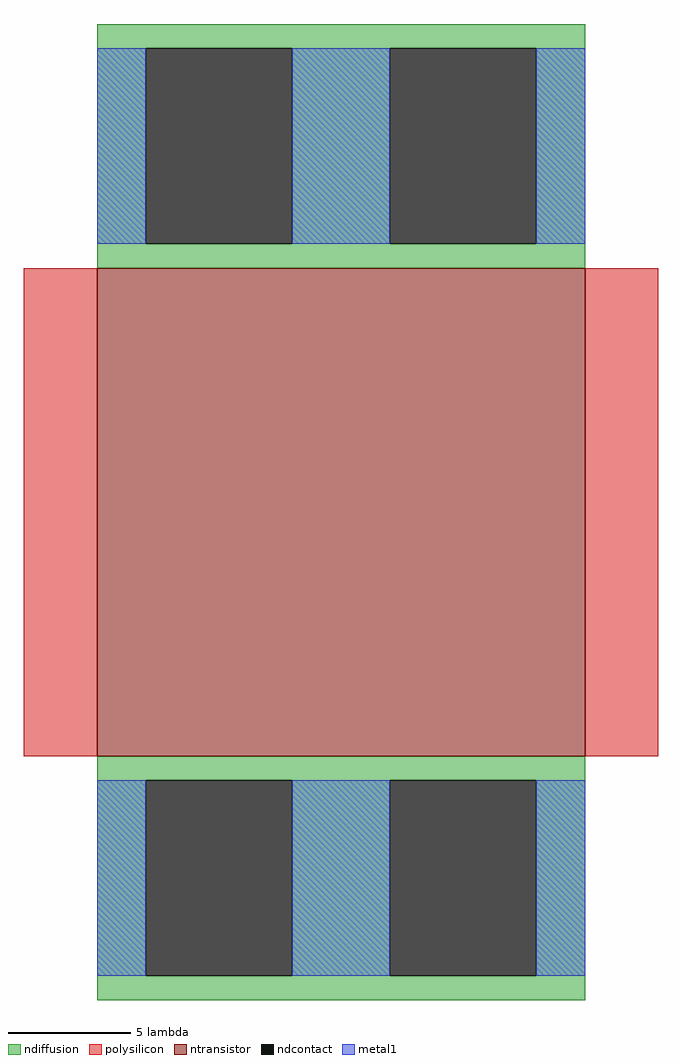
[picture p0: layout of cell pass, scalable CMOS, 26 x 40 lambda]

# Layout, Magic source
magic
tech scmos
<< ntransistor >>
rect -1 16 19 36
<< ndiffusion >>
rect -1 45 19 46
rect -1 37 1 45
rect 7 37 11 45
rect 17 37 19 45
rect -1 36 19 37
rect -1 15 19 16
rect -1 7 1 15
rect 7 7 11 15
rect 17 7 19 15
rect -1 6 19 7
<< ndcontact >>
rect 1 37 7 45
rect 11 37 17 45
rect 1 7 7 15
rect 11 7 17 15
<< polysilicon >>
rect -4 16 -1 36
rect 19 16 22 36
<< metal1 >>
rect -1 37 1 45
rect 7 37 11 45
rect 17 37 19 45
rect -1 7 1 15
rect 7 7 11 15
rect 17 7 19 15
<< end >>
